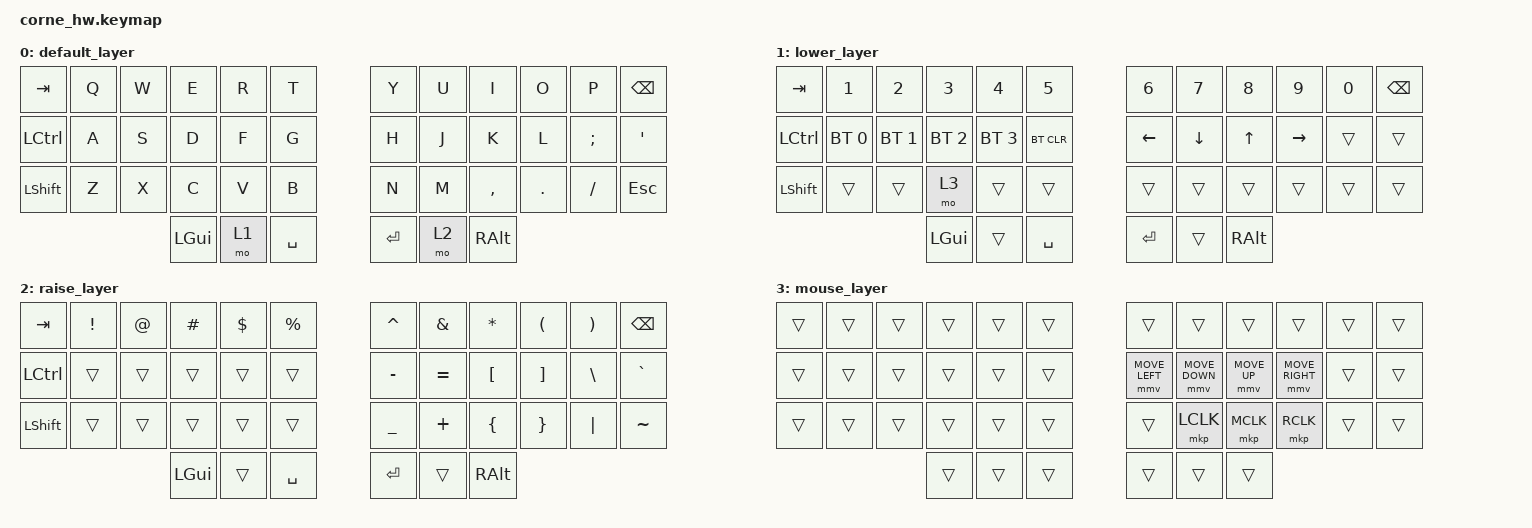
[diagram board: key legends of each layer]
/*
 * Copyright (c) 2020 The ZMK Contributors
 *
 * SPDX-License-Identifier: MIT
 */

#include <behaviors.dtsi>
#include <dt-bindings/zmk/keys.h>
#include <dt-bindings/zmk/bt.h>
#include <dt-bindings/zmk/pointing.h>

/ {
        keymap {
                compatible = "zmk,keymap";

                default_layer {
// -----------------------------------------------------------------------------------------
// |  TAB |  Q  |  W  |  E  |  R  |  T  |   |  Y  |  U   |  I  |  O  |  P  | BSPC |
// | CTRL |  A  |  S  |  D  |  F  |  G  |   |  H  |  J   |  K  |  L  |  ;  |  '   |
// | SHFT |  Z  |  X  |  C  |  V  |  B  |   |  N  |  M   |  ,  |  .  |  /  | ESC  |
//                    | GUI | LWR | SPC |   | ENT | RSE  | ALT |
                        bindings = <
   &kp TAB   &kp Q &kp W &kp E &kp R &kp T   &kp Y &kp U  &kp I     &kp O   &kp P    &kp BSPC
   &kp LCTRL &kp A &kp S &kp D &kp F &kp G   &kp H &kp J  &kp K     &kp L   &kp SEMI &kp SQT
   &kp LSHFT &kp Z &kp X &kp C &kp V &kp B   &kp N &kp M  &kp COMMA &kp DOT &kp FSLH &kp ESC
                  &kp LGUI &mo 1 &kp SPACE   &kp RET &mo 2 &kp RALT
                        >;
                };
                lower_layer {
// -----------------------------------------------------------------------------------------
// |  TAB |  1  |  2  |  3  |  4  |   5   |   |  6  |  7  |  8  |  9  |  0  | BSPC |
// | CTRL | BT1 | BT2 | BT3 | BT4 | BTCLR |   | LFT | DWN |  UP | RGT |     |      |
// | SHFT |     |     | MO3 |     |       |   |     |     |     |     |     |      |
//                    | GUI |     |  SPC  |   | ENT |     | ALT |
                        bindings = <
   &kp TAB    &kp N1       &kp N2       &kp N3       &kp N4       &kp N5         &kp N6   &kp N7   &kp N8 &kp N9    &kp N0 &kp BSPC
   &kp LCTRL  &bt BT_SEL 0 &bt BT_SEL 1 &bt BT_SEL 2 &bt BT_SEL 3 &bt BT_CLR     &kp LEFT &kp DOWN &kp UP &kp RIGHT &trans &trans
   &kp LSHFT  &trans       &trans       &mo 3        &trans       &trans         &trans   &trans   &trans &trans    &trans &trans
                                    &kp LGUI     &trans       &kp SPACE      &kp RET  &trans   &kp RALT
                        >;
                };

                raise_layer {
// -----------------------------------------------------------------------------------------
// |  TAB |  !  |  @  |  #  |  $  |  %  |   |  ^  |  &  |  *  |  (  |  )  | BSPC |
// | CTRL |     |     |     |     |     |   |  -  |  =  |  [  |  ]  |  \  |  `   |
// | SHFT |     |     |     |     |     |   |  _  |  +  |  {  |  }  | "|" |  ~   |
//                    | GUI |     | SPC |   | ENT |     | ALT |
                        bindings = <
   &kp  TAB  &kp EXCL &kp AT &kp HASH &kp DLLR &kp PRCNT   &kp CARET &kp AMPS  &kp ASTRK &kp LPAR &kp RPAR &kp BSPC
   &kp LCTRL &trans   &trans &trans   &trans   &trans      &kp MINUS &kp EQUAL &kp LBKT  &kp RBKT &kp BSLH &kp GRAVE
   &kp LSHFT &trans   &trans &trans   &trans   &trans      &kp UNDER &kp PLUS  &kp LBRC  &kp RBRC &kp PIPE &kp TILDE
                             &kp LGUI &trans   &kp SPACE   &kp RET   &trans    &kp RALT
                        >;
                };

                mouse_layer {
// -----------------------------------------------------------------------------------------
// |  TAB |     |     |     |     |     |   |     |     |     |     |     | BSPC |
// | CTRL |     |     |     |     |     |   | LEFT| DOWN|  UP |RIGHT|     |      |
// | SHFT |     |     |     |     |     |   |     | LCLK| MCLK| RCLK|     | ESC  |
//                    | GUI |     | SPC |   | ENT |     | ALT |
                        bindings = <
   &trans    &trans &trans &trans &trans &trans    &trans &trans         &trans         &trans          &trans &trans
   &trans    &trans &trans &trans &trans &trans    &mmv MOVE_LEFT &mmv MOVE_DOWN &mmv MOVE_UP &mmv MOVE_RIGHT &trans &trans
   &trans    &trans &trans &trans &trans &trans    &trans &mkp LCLK      &mkp MCLK      &mkp RCLK       &trans &trans
                           &trans &trans &trans    &trans &trans         &trans
                        >;
                };
        };
};
